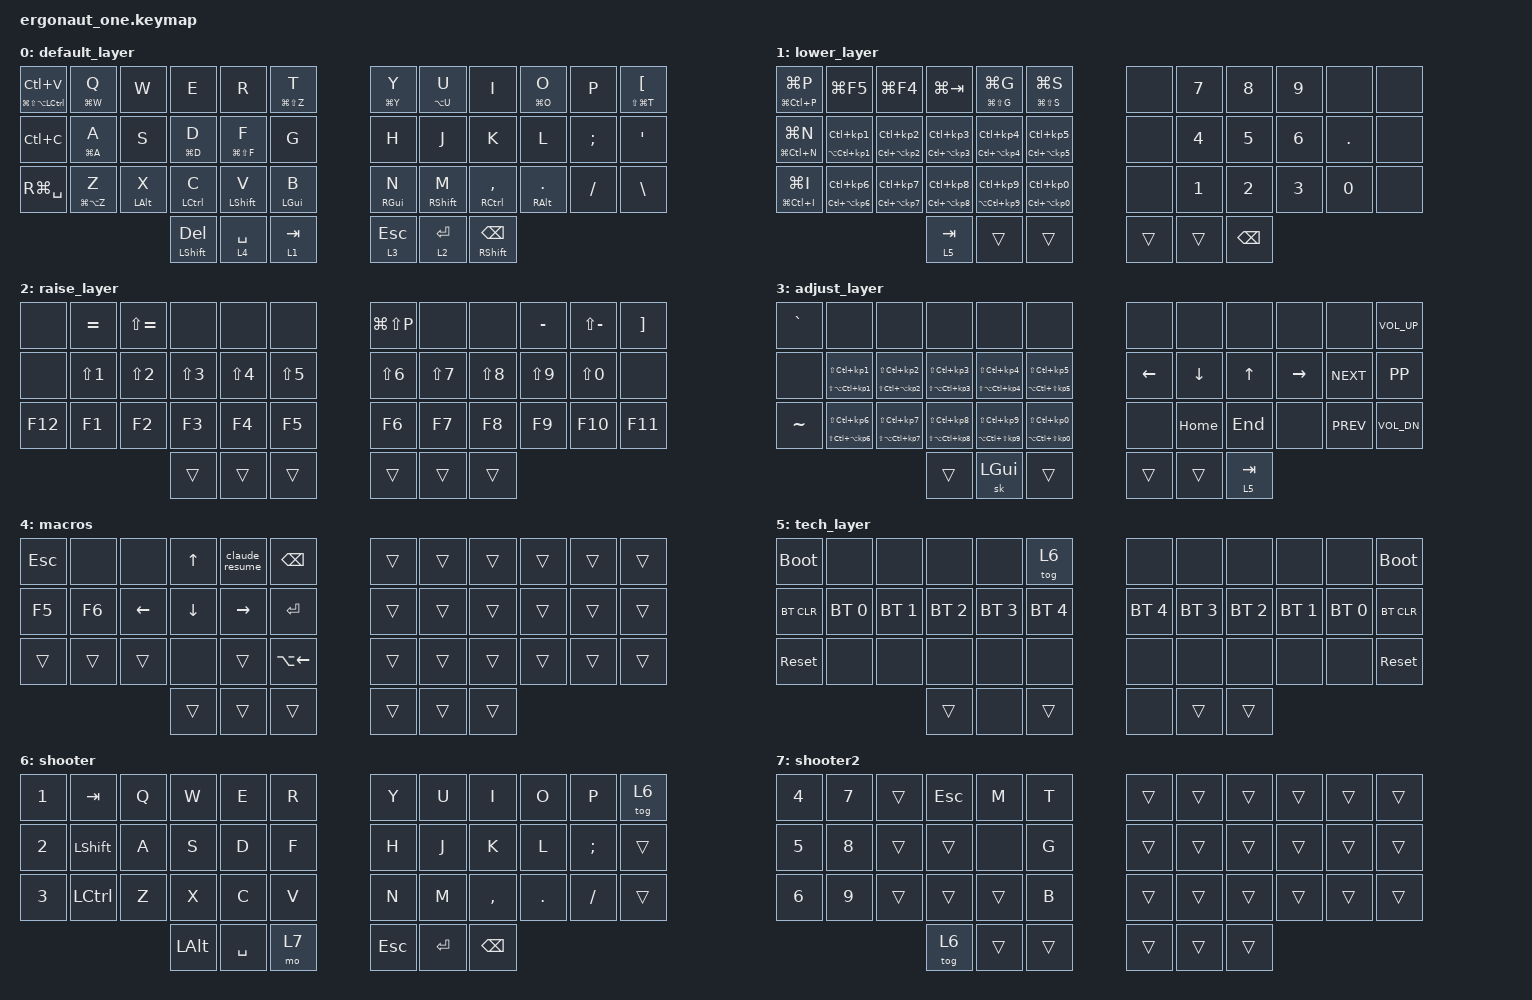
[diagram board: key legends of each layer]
/*
 * Copyright (c) 2021 Rafael Yumagulov
 *
 * SPDX-License-Identifier: MIT

 */

#include <behaviors.dtsi>
#include <dt-bindings/zmk/bt.h>
#include <dt-bindings/zmk/keys.h>

#define DEF 0
#define LWR 1
#define RSE 2
#define ADJ 3
#define TCH 4

&lt { quick_tap_ms = <140>; };

&mt { quick_tap_ms = <120>; };

&sk {
    release-after-ms = <2000>;
    quick-release;
};

/ {
    combos { compatible = "zmk,combos"; };
};

/ {
    behaviors {
        td_1_11: td_1_11 {
            compatible = "zmk,behavior-tap-dance";
            label = "TD_1_11";
            #binding-cells = <0>;
            bindings = <&kp LC(KP_N1)>, <&kp LA(LC(KP_N1))>;

            tapping-term-ms = <300>;
        };

        td_3_13: td_3_13 {
            compatible = "zmk,behavior-tap-dance";
            label = "TD_3_13";
            #binding-cells = <0>;
            bindings = <&kp LC(KP_N3)>, <&kp LA(LC(KP_N3))>;

            tapping-term-ms = <300>;
        };

        td_4_14: td_4_14 {
            compatible = "zmk,behavior-tap-dance";
            label = "TD_4_14";
            #binding-cells = <0>;
            bindings = <&kp LC(KP_N4)>, <&kp LA(LC(KP_N4))>;

            tapping-term-ms = <300>;
        };

        td_2_12: td_2_12 {
            compatible = "zmk,behavior-tap-dance";
            label = "TD_2_12";
            #binding-cells = <0>;
            bindings = <&kp LC(KP_N2)>, <&kp LA(LC(KP_N2))>;

            tapping-term-ms = <300>;
        };

        td_5_15: td_5_15 {
            compatible = "zmk,behavior-tap-dance";
            label = "TD_5_15";
            #binding-cells = <0>;
            bindings = <&kp LC(KP_N5)>, <&kp LA(LC(KP_N5))>;

            tapping-term-ms = <300>;
        };

        td_6_16: td_6_16 {
            compatible = "zmk,behavior-tap-dance";
            label = "TD_6_16";
            #binding-cells = <0>;
            bindings = <&kp LC(KP_N6)>, <&kp LA(LC(KP_N6))>;

            tapping-term-ms = <300>;
        };

        td_7_17: td_7_17 {
            compatible = "zmk,behavior-tap-dance";
            label = "TD_7_17";
            #binding-cells = <0>;
            bindings = <&kp LC(KP_N7)>, <&kp LA(LC(KP_N7))>;

            tapping-term-ms = <300>;
        };

        td_8_18: td_8_18 {
            compatible = "zmk,behavior-tap-dance";
            label = "TD_8_18";
            #binding-cells = <0>;
            bindings = <&kp LC(KP_N8)>, <&kp LA(LC(KP_N8))>;

            tapping-term-ms = <300>;
        };

        td_9_19: td_9_19 {
            compatible = "zmk,behavior-tap-dance";
            label = "TD_9_19";
            #binding-cells = <0>;
            bindings = <&kp LC(KP_N9)>, <&kp LA(LC(KP_N9))>;

            tapping-term-ms = <300>;
        };

        td_10_20: td_10_20 {
            compatible = "zmk,behavior-tap-dance";
            label = "TD_10_20";
            #binding-cells = <0>;
            bindings = <&kp LC(KP_N0)>, <&kp LA(LC(KP_N0))>;

            tapping-term-ms = <300>;
        };

        super_key_behavior: super_key_behavior {
            compatible = "zmk,behavior-hold-tap";
            label = "SUPER_KEY_BEHAVIOR";
            bindings = <&kp>, <&kp>;

            #binding-cells = <2>;
            flavor = "tap-preferred";
            tapping-term-ms = <240>;
            require-prior-idle-ms = <175>;
            hold-trigger-key-positions = <35>;
            quick-tap-ms = <175>;
        };

        hold_tap_advanced: hold_tap_advanced {
            compatible = "zmk,behavior-hold-tap";
            label = "HOLD_TAP_ADVANCED";
            bindings = <&kp>, <&kp>;

            #binding-cells = <2>;
            flavor = "tap-preferred";
            tapping-term-ms = <240>;
            require-prior-idle-ms = <150>;
            quick-tap-ms = <175>;
        };

        mt_advanced: mt_advanced {
            compatible = "zmk,behavior-hold-tap";
            label = "MT_ADVANCED";
            bindings = <&mo>, <&kp>;

            #binding-cells = <2>;
            flavor = "tap-preferred";
            tapping-term-ms = <280>;
            require-prior-idle-ms = <200>;
            quick-tap-ms = <175>;
        };
    };

    macros {
        claude_resume: reset {
            compatible = "zmk,behavior-macro";
            #binding-cells = <0>;
            bindings = <&kp FSLH &kp R &kp E &kp S &kp U &kp M &kp E>;
            label = "RESET";
        };

        claude_status: claude_status {
            compatible = "zmk,behavior-macro";
            #binding-cells = <0>;
            bindings = <&kp FSLH &kp S &kp T &kp A &kp T &kp U &kp S>;
            label = "CLAUDE_STATUS";
        };

        docker_comp: docker_comp {
            compatible = "zmk,behavior-macro";
            #binding-cells = <0>;
            bindings = <&kp D &kp O &kp C &kp K &kp E &kp R &kp MINUS &kp C &kp O &kp M &kp P &kp O &kp S &kp E>;
            label = "DOCKER_COMP";
        };

        clear: clear {
            compatible = "zmk,behavior-macro";
            #binding-cells = <0>;
            bindings = <&kp C &kp L &kp E &kp A &kp R>;
            label = "CLEAR";
        };
    };

    keymap {
        compatible = "zmk,keymap";

        default_layer {
            // -----------------------------------------------------------------------------------------
            // |none  | lang/meh    |  Q  |  W  |  E  |  R  |  T  |   |  Y  |  U   |  I  |  O  |  P  |  [   | none |
            //        | ctrl+tab    |  A  |  S  |  D  |  F  |  G  |   |  H  |  J   |  K  |  L  |  ;  | '    |
            //        | consoles    |  Z  |  X  |  C  |  V  |  B  |   |  N  |  M   |  ,  |  .  |  /  | \    |
            //                           | SHIFT/DEL | SPC | LWR/TAB |   | ADJ/ESC | RSE/ENT| SHIFT/BackSPACE |

            bindings = <
&mt LG(LS(LA(LCTRL))) LC(V)  &super_key_behavior LG(W) Q      &kp W                          &kp E                        &kp R                            &super_key_behavior LG(LS(Z)) T  &super_key_behavior LG(Y) Y     &super_key_behavior LA(U) U       &kp I                           &super_key_behavior LG(O) O       &kp P     &super_key_behavior LS(LG(T)) LBKT
&kp LC(C)                    &super_key_behavior LG(A) A      &kp S                          &super_key_behavior LG(D) D  &super_key_behavior LG(LS(F)) F  &kp G                            &kp H                           &kp J                             &kp K                           &kp L                             &kp SEMI  &kp SQT
&kp RG(SPACE)                &super_key_behavior LG(LA(Z)) Z  &hold_tap_advanced LEFT_ALT X  &hold_tap_advanced LCTRL C   &hold_tap_advanced LEFT_SHIFT V  &hold_tap_advanced LEFT_GUI B    &hold_tap_advanced RIGHT_GUI N  &hold_tap_advanced RIGHT_SHIFT M  &hold_tap_advanced RCTRL COMMA  &hold_tap_advanced RIGHT_ALT DOT  &kp FSLH  &kp BSLH
                                                                                             &mt LSHIFT DEL               &mt_advanced 4 SPACE             &lt 1 TAB                        &lt 3 ESC                       &lt 2 RET                         &mt RSHIFT BSPC
            >;
        };

        lower_layer {
            // -----------------------------------------------------------------------------------------
            // |     |  vol_up  |  PG_DN    |  PG_UP  |  INS    |  HOME   |  END    |   | none |  7  |  8  |  9  | none| none| none |
            //       |  mute    |  CTRL(1)  |  CTRL(2)|  CTRL(3)|  CTRL(4)|  CTRL(5)|   | none |  4  |  5  |  6  |  .  | none|
            //       |  vol_donw|  CTRL(6)  |  ALT    |  CTRL   |  SHIFT  |CTRL(7/8)|   | none |  1  |  2  |  3  |  0  |     |
            //                                  | TRANS |  TRANS   | TRANS |            | TRANS | TRANS  | TRANS |

            bindings = <
&super_key_behavior LG(LC(P)) LG(P)  &kp LG(F5)                                   &kp LG(F4)                                   &kp LG(TAB)                                  &super_key_behavior LG(LS(G)) LG(G)          &super_key_behavior LG(LS(S)) LG(S)          &none   &kp N7  &kp N8    &kp N9  &none    &none
&super_key_behavior LG(LC(N)) LG(N)  &super_key_behavior LA(LC(KP_N1)) LC(KP_N1)  &super_key_behavior LC(LA(KP_N2)) LC(KP_N2)  &super_key_behavior LC(LA(KP_N3)) LC(KP_N3)  &super_key_behavior LC(LA(KP_N4)) LC(KP_N4)  &super_key_behavior LC(LA(KP_N5)) LC(KP_N5)  &none   &kp N4  &kp N5    &kp N6  &kp DOT  &none
&super_key_behavior LG(LC(I)) LG(I)  &super_key_behavior LC(LA(KP_N6)) LC(KP_N6)  &super_key_behavior LC(LA(KP_N7)) LC(KP_N7)  &super_key_behavior LC(LA(KP_N8)) LC(KP_N8)  &super_key_behavior LA(LC(KP_N9)) LC(KP_N9)  &super_key_behavior LC(LA(KP_N0)) LC(KP_N0)  &none   &kp N1  &kp N2    &kp N3  &kp N0   &none
                                                                                                                               &lt 5 TAB                                    &trans                                       &trans                                       &trans  &trans  &kp BSPC
            >;
        };

        raise_layer {
            // -----------------------------------------------------------------------------------------
            // |none | none |  =   |  +  |  none  |  none  |  none  |         | shift F10| shift alt F9| run line pycharm  |-   | _   | ]      |none|
            //       | none |  !   |  @  |  #     |  $     |  %     |         | ^            | &           |  *                | (  | )   | none   |
            //       | none |  F1  | F2  |  F3    |  F4    |  F5    |         | F6           | F7          | F8                | F9 | F10 | F11 F12|
            //                              | TRANS |  TRANS   | TRANS |        | TRANS | TRANS  | TRANS |

            bindings = <
&none    &kp EQUAL   &kp LS(EQUAL)  &none       &none       &none       &kp LG(LS(P))  &none       &none       &kp MINUS   &kp LS(MINUS)  &kp RBKT
&none    &kp LS(N1)  &kp LS(N2)     &kp LS(N3)  &kp LS(N4)  &kp LS(N5)  &kp LS(N6)     &kp LS(N7)  &kp LS(N8)  &kp LS(N9)  &kp LS(N0)     &none
&kp F12  &kp F1      &kp F2         &kp F3      &kp F4      &kp F5      &kp F6         &kp F7      &kp F8      &kp F9      &kp F10        &kp F11
                                    &trans      &trans      &trans      &trans         &trans      &trans
            >;
        };

        adjust_layer {
            // -----------------------------------------------------------------------------------------
            // | none | `    |CTRL(RIGHT)| none |none |GUI(W)|          |   none   |  none |  CAPS   |  none   |  vim_past   |  none             |  none |
            //        | none | none      | none |none |none  |          |   LEFT   | DOWN  |  UP     | RIGHT   |  LT(HOME)   |  none             |
            //        | none |  none     |GUI(X)|none |none  |          |   SHIFT  | MENU  |  CTRL   |  ALT    |  none       |   SHIFT CTRL F12  |
            //           | TRANS |  GUI   | ace_jump_pycharm |        | TRANS | TRANS  | TRANS |

            bindings = <
&kp GRAVE  &none                                                &none                                                &none                                                &none                                                &none                                                &none     &none     &none      &none      &none       &kp K_VOLUME_UP
&none      &super_key_behavior LS(LA(LC(KP_N1))) LS(LC(KP_N1))  &super_key_behavior LS(LC(LA(KP_N2))) LS(LC(KP_N2))  &super_key_behavior LS(LA(LC(KP_N3))) LS(LC(KP_N3))  &super_key_behavior LS(LA(LC(KP_N4))) LS(LC(KP_N4))  &super_key_behavior LA(LC(LS(KP_N5))) LS(LC(KP_N5))  &kp LEFT  &kp DOWN  &kp UP     &kp RIGHT  &kp K_NEXT  &kp K_PP
&kp TILDE  &super_key_behavior LS(LC(LA(KP_N6))) LS(LC(KP_N6))  &super_key_behavior LS(LA(LC(KP_N7))) LS(LC(KP_N7))  &super_key_behavior LS(LA(LC(KP_N8))) LS(LC(KP_N8))  &super_key_behavior LA(LC(LS(KP_N9))) LS(LC(KP_N9))  &super_key_behavior LA(LC(LS(KP_N0))) LS(LC(KP_N0))  &none     &kp HOME  &kp END    &none      &kp K_PREV  &kp K_VOL_DN
                                                                                                                     &trans                                               &sk LGUI                                             &trans                                               &trans    &trans    &lt 5 TAB
            >;
        };

        macros {
            bindings = <
&kp ESCAPE  &none   &none           &kp UP_ARROW  &claude_resume  &kp BACKSPACE       &trans  &trans  &trans  &trans  &trans  &trans
&kp F5      &kp F6  &kp LEFT_ARROW  &kp DOWN      &kp RIGHT       &kp ENTER           &trans  &trans  &trans  &trans  &trans  &trans
&trans      &trans  &trans          &none         &trans          &kp LA(LEFT_ARROW)  &trans  &trans  &trans  &trans  &trans  &trans
                                    &trans        &trans          &trans              &trans  &trans  &trans
            >;
        };

        tech_layer {
            bindings = <
&bootloader  &none         &none         &none         &none         &tog 6        &none         &none         &none         &none         &none         &bootloader
&bt BT_CLR   &bt BT_SEL 0  &bt BT_SEL 1  &bt BT_SEL 2  &bt BT_SEL 3  &bt BT_SEL 4  &bt BT_SEL 4  &bt BT_SEL 3  &bt BT_SEL 2  &bt BT_SEL 1  &bt BT_SEL 0  &bt BT_CLR
&sys_reset   &none         &none         &none         &none         &none         &none         &none         &none         &none         &none         &sys_reset
                                         &trans        &none         &trans        &none         &trans        &trans
            >;
        };

        shooter {
            bindings = <
&kp N1  &kp TAB    &kp Q  &kp W     &kp E      &kp R  &kp Y    &kp U      &kp I      &kp O    &kp P     &tog 6
&kp N2  &kp LSHFT  &kp A  &kp S     &kp D      &kp F  &kp H    &kp J      &kp K      &kp L    &kp SEMI  &trans
&kp N3  &kp LCTRL  &kp Z  &kp X     &kp C      &kp V  &kp N    &kp M      &kp COMMA  &kp DOT  &kp FSLH  &trans
                          &kp LALT  &kp SPACE  &mo 7  &kp ESC  &kp ENTER  &kp BSPC
            >;
        };

        shooter2 {
            bindings = <
&kp N4  &kp N7  &trans  &kp ESC  &kp M   &kp T   &trans  &trans  &trans  &trans  &trans  &trans
&kp N5  &kp N8  &trans  &trans   &none   &kp G   &trans  &trans  &trans  &trans  &trans  &trans
&kp N6  &kp N9  &trans  &trans   &trans  &kp B   &trans  &trans  &trans  &trans  &trans  &trans
                        &tog 6   &trans  &trans  &trans  &trans  &trans
            >;
        };
    };
};
